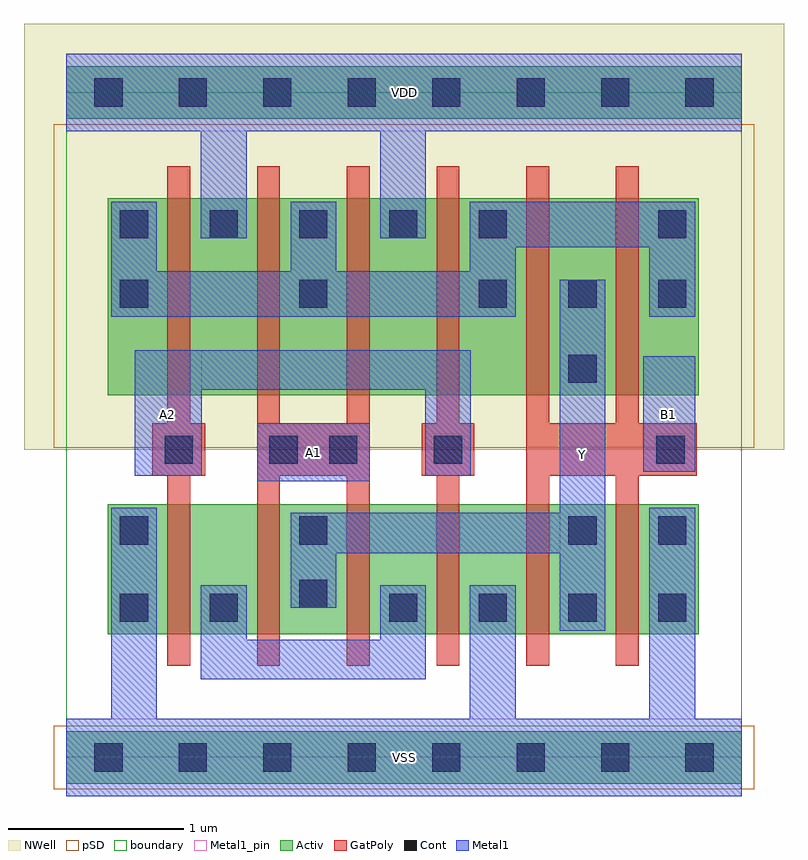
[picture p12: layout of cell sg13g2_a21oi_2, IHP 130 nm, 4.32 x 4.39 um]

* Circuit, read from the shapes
.subckt sg13g2_a21oi_2 A1 A2 B1 VDD VSS Y
XM1 n1 A2 VSS VSS sg13_lv_nmos w=0.74u l=0.13u m=2
XM2 Y A1 n1 VSS sg13_lv_nmos w=0.74u l=0.13u m=2
XM3 Y B1 VSS VSS sg13_lv_nmos w=0.74u l=0.13u m=2
XM4 VDD A2 n2 VDD sg13_lv_pmos w=1.12u l=0.13u m=2
XM5 n2 A1 VDD VDD sg13_lv_pmos w=1.12u l=0.13u m=2
XM6 Y B1 n2 VDD sg13_lv_pmos w=1.12u l=0.13u m=2
.ends

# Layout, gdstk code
import gdstk
lib = gdstk.Library(unit=1e-6, precision=1e-09)
def R(c, l, rs):  # rectangles x0, y0, x1, y1
    for r in rs: c.add(gdstk.rectangle(r[:2], r[2:], *l))
def A(c, l, x, y, w, h, nx, ny, dx, dy):  # array of equal rectangles
    R(c, l, [(x+i*dx, y+j*dy, x+i*dx+w, y+j*dy+h) for i in range(nx) for j in range(ny)])
def P(c, l, *ps):  # polygons
    for p in ps: c.add(gdstk.Polygon(p, *l))
Activ = (1, 0)
GatPoly = (5, 0)
Cont = (6, 0)
Metal1 = (8, 0)
Metal1_pin = (8, 2)
pSD = (14, 0)
NWell = (31, 0)
boundary = (189, 4)

sg13g2_a21oi_2 = lib.new_cell('sg13g2_a21oi_2')
R(sg13g2_a21oi_2, Activ, [(0,-0.15,3.84,0.15), (0.235,0.7,3.595,1.44), (0.235,2.06,3.595,3.18), (0,3.63,3.84,3.93)])
P(sg13g2_a21oi_2, GatPoly, [(1.085,0.52),(1.085,3.36),(1.215,3.36),(1.215,1.9),(1.595,1.9),(1.595,3.36),(1.725,3.36),(1.725,0.52),(1.595,0.52),(1.595,1.6),(1.215,1.6),(1.215,0.52)],
  [(2.615,0.52),(2.615,3.36),(2.745,3.36),(2.745,1.9),(3.125,1.9),(3.125,3.36),(3.255,3.36),(3.255,1.9),(3.585,1.9),(3.585,1.6),(3.255,1.6),(3.255,0.52),(3.125,0.52),(3.125,1.6),(2.745,1.6),(2.745,0.52)],
  [(0.575,0.52),(0.575,1.6),(0.49,1.6),(0.49,1.9),(0.575,1.9),(0.575,3.36),(0.705,3.36),(0.705,1.9),(0.79,1.9),(0.79,1.6),(0.705,1.6),(0.705,0.52)],
  [(2.105,0.52),(2.105,1.6),(2.02,1.6),(2.02,1.9),(2.105,1.9),(2.105,3.36),(2.235,3.36),(2.235,1.9),(2.32,1.9),(2.32,1.6),(2.235,1.6),(2.235,0.52)])
A(sg13g2_a21oi_2, Cont, 0.16, -0.08, 0.16, 0.16, 8, 2, 0.48, 3.78)
A(sg13g2_a21oi_2, Cont, 1.835, 0.77, 0.16, 0.16, 4, 1, 0.51, 0)
A(sg13g2_a21oi_2, Cont, 0.305, 2.555, 0.16, 0.16, 3, 1, 1.02, 0)
A(sg13g2_a21oi_2, Cont, 0.305, 2.95, 0.16, 0.16, 5, 1, 0.51, 0)
R(sg13g2_a21oi_2, Cont, [(0.305,0.77,0.465,0.93), (0.815,0.77,0.975,0.93), (1.325,0.85,1.485,1.01), (0.305,1.21,0.465,1.37), (1.325,1.21,1.485,1.37), (2.855,1.21,3.015,1.37), (3.365,1.21,3.525,1.37), (0.56,1.67,0.72,1.83), (1.155,1.67,1.315,1.83), (1.495,1.67,1.655,1.83), (2.09,1.67,2.25,1.83), (3.355,1.67,3.515,1.83), (2.855,2.13,3.015,2.29), (2.855,2.555,3.015,2.715), (3.365,2.555,3.525,2.715), (3.365,2.95,3.525,3.11)])
R(sg13g2_a21oi_2, Metal1, [(1.085,1.57,1.725,1.9), (3.28,1.625,3.575,2.28)])
P(sg13g2_a21oi_2, Metal1, [(0.39,1.6),(0.39,2.315),(2.3,2.315),(2.3,1.6),(2.04,1.6),(2.04,2.09),(0.77,2.09),(0.77,1.6)],
  [(0.765,0.445),(0.765,0.98),(1.025,0.98),(1.025,0.67),(1.785,0.67),(1.785,0.98),(2.045,0.98),(2.045,0.445)],
  [(2.805,0.72),(2.805,1.16),(1.535,1.16),(1.535,0.85),(1.275,0.85),(1.275,1.39),(2.805,1.39),(2.805,2.715),(3.065,2.715),(3.065,0.72)],
  [(0.255,2.505),(0.255,3.16),(0.515,3.16),(0.515,2.765),(1.275,2.765),(1.275,3.16),(1.535,3.16),(1.535,2.765),(2.295,2.765),(2.295,3.16),(3.575,3.16),(3.575,2.505),(3.315,2.505),(3.315,2.9),(2.555,2.9),(2.555,2.505)],
  [(0.765,2.95),(0.765,3.56),(0,3.56),(0,4),(3.84,4),(3.84,3.56),(2.045,3.56),(2.045,2.95),(1.785,2.95),(1.785,3.56),(1.025,3.56),(1.025,2.95)],
  [(0,-0.22),(0,0.22),(0.255,0.22),(0.255,1.42),(0.515,1.42),(0.515,0.22),(2.295,0.22),(2.295,0.98),(2.555,0.98),(2.555,0.22),(3.315,0.22),(3.315,1.42),(3.575,1.42),(3.575,0.22),(3.84,0.22),(3.84,-0.22)])
R(sg13g2_a21oi_2, Metal1_pin, [(0,-0.22,3.84,0.22), (2.805,0.72,3.065,2.715), (1.085,1.57,1.725,1.9), (0.39,1.6,0.77,2.315), (3.28,1.625,3.575,2.28), (0,3.56,3.84,4)])
R(sg13g2_a21oi_2, pSD, [(-0.07,-0.18,3.91,0.18), (-0.07,1.76,3.91,3.6)])
R(sg13g2_a21oi_2, NWell, [(-0.24,1.75,4.08,4.17)])
R(sg13g2_a21oi_2, boundary, [(0,0,3.84,3.78)])
sg13g2_a21oi_2.add(gdstk.Label('VSS', (1.92,0), layer=8, texttype=25))
sg13g2_a21oi_2.add(gdstk.Label('A1', (1.405,1.735), layer=8, texttype=25))
sg13g2_a21oi_2.add(gdstk.Label('VDD', (1.92,3.78), layer=8, texttype=25))
sg13g2_a21oi_2.add(gdstk.Label('A2', (0.575,1.95), layer=8, texttype=25))
sg13g2_a21oi_2.add(gdstk.Label('B1', (3.425,1.95), layer=8, texttype=25))
sg13g2_a21oi_2.add(gdstk.Label('Y', (2.935,1.72), layer=8, texttype=25))

lib.write_gds('sg13g2_a21oi_2.gds')
